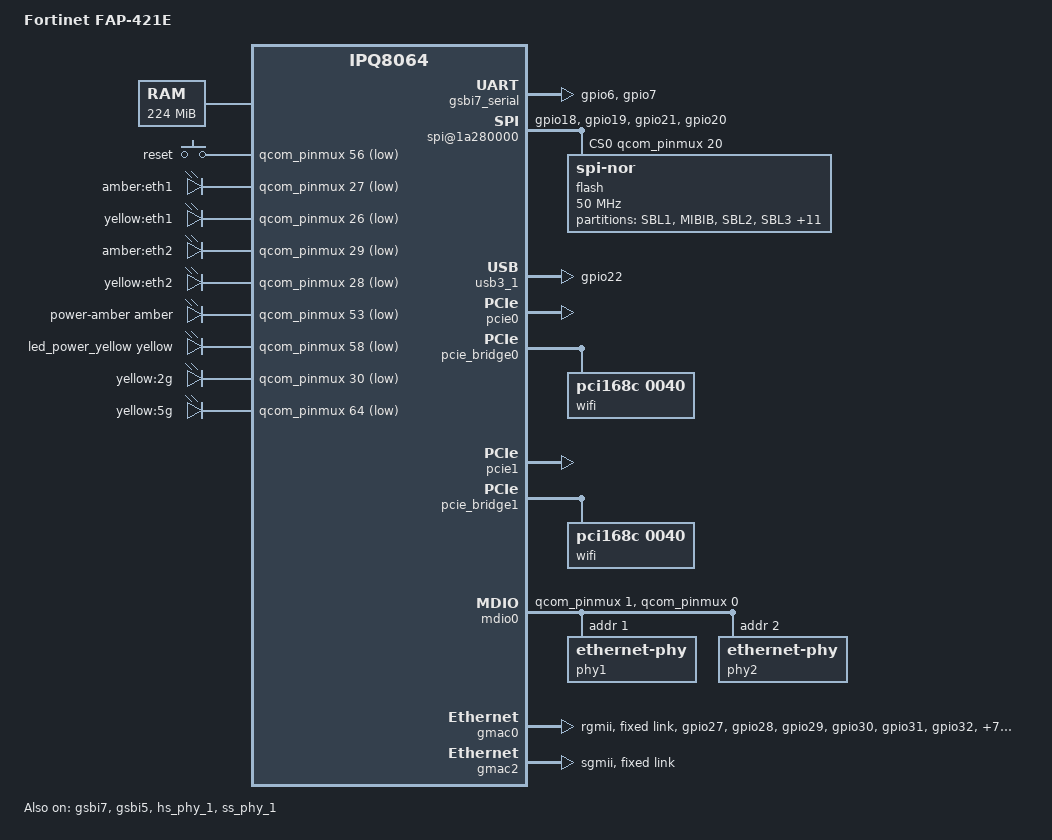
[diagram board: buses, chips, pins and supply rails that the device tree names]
// SPDX-License-Identifier: GPL-2.0-or-later OR MIT

#include "qcom-ipq8064-smb208.dtsi"
#include <dt-bindings/input/input.h>
#include <dt-bindings/leds/common.h>

/ {
	model = "Fortinet FAP-421E";
	compatible = "fortinet,fap-421e", "qcom,ipq8064";

	memory@42000000 {
		device_type = "memory";
		reg = <0x42000000 0xe000000>;
	};

	reserved-memory {
		rsvd@41200000 {
			no-map;
			reg = <0x41200000 0x300000>;
		};
		wifi_dump@44000000 {
			no-map;
			reg = <0x44000000 0x600000>;
		};
	};

	aliases {
		led-boot = &led_power_yellow;
		led-failsafe = &led_power_yellow;
		led-running = &led_power_yellow;
		led-upgrade = &led_power_yellow;
		label-mac-device = &gmac0;
	};

	chosen {
		bootargs-override = "console=ttyMSM0,9600n8";
	};

	keys {
		compatible = "gpio-keys";
		pinctrl-0 = <&button_pins>;
		pinctrl-names = "default";

		reset {
			label = "reset";
			gpios = <&qcom_pinmux 56 GPIO_ACTIVE_LOW>;
			linux,code = <KEY_RESTART>;
		};
	};

	leds {
		compatible = "gpio-leds";
		pinctrl-0 = <&led_pins>;
		pinctrl-names = "default";

		eth1-amber {
			label = "amber:eth1";
			gpios = <&qcom_pinmux 27 GPIO_ACTIVE_LOW>;
		};

		eth1-yellow {
			label = "yellow:eth1";
			gpios = <&qcom_pinmux 26 GPIO_ACTIVE_LOW>;
		};

		eth2-amber {
			label = "amber:eth2";
			gpios = <&qcom_pinmux 29 GPIO_ACTIVE_LOW>;
		};

		eth2-yellow {
			label = "yellow:eth2";
			gpios = <&qcom_pinmux 28 GPIO_ACTIVE_LOW>;
		};

		power-amber {
			function = LED_FUNCTION_POWER;
			color = <LED_COLOR_ID_AMBER>;
			gpios = <&qcom_pinmux 53 GPIO_ACTIVE_LOW>;
		};

		led_power_yellow: power-yellow {
			function = LED_FUNCTION_POWER;
			color = <LED_COLOR_ID_YELLOW>;
			gpios = <&qcom_pinmux 58 GPIO_ACTIVE_LOW>;
		};

		2g-yellow {
			label = "yellow:2g";
			gpios = <&qcom_pinmux 30 GPIO_ACTIVE_LOW>;
		};

		5g-yellow {
			label = "yellow:5g";
			gpios = <&qcom_pinmux 64 GPIO_ACTIVE_LOW>;
		};
	};
};

&qcom_pinmux {
	button_pins: button_pins {
		mux {
			bias-pull-up;
			drive-strength = <2>;
			pins = "gpio56";
		};
	};

	led_pins: led_pins {
		mux {
			bias-pull-down;
			drive-strength = <2>;
			function = "gpio";
			output-low;
			pins = "gpio23";
		};
	};

	rgmii2_pins: rgmii2-state {
		/delete-property/ pins;
		/delete-property/ function;
		/delete-property/ drive-strength;
		/delete-property/ bias-disable;

		mux-1 {
			pins = "gpio27", "gpio28", "gpio29",
				"gpio30", "gpio31", "gpio32",
				"gpio51", "gpio52", "gpio59",
				"gpio60", "gpio61", "gpio62";
			function = "rgmii2";
			drive-strength = <8>;
			bias-disable;
		};

		mux-2 {
			bias-disable;
			drive-strength = <16>;
			function = "rgmii2";
			pins = "gpio66";
		};
	};

	spi_pins: spi-state {
		/delete-property/ pins;
		/delete-property/ function;
		/delete-property/ drive-strength;
		/delete-property/ bias-disable;

		mux {
			pins = "gpio18", "gpio19", "gpio21";
			function = "gsbi5";
			bias-pull-down;
		};

		data {
			pins = "gpio18", "gpio19";
			drive-strength = <10>;
		};

		cs {
			pins = "gpio20";
			drive-strength = <10>;
			bias-pull-up;
		};

		clk {
			pins = "gpio21";
			drive-strength = <12>;
		};
	};

	uart0_pins: uart0_pins {
		mux {
			bias-disable;
			drive-strength = <12>;
			function = "gsbi7";
			pins = "gpio6", "gpio7";
		};
	};

	usb_pwr_en_pins: usb_pwr_en_pins {
		mux {
			pins = "gpio22";
			function = "gpio";
			drive-strength = <12>;
			bias-pull-down;
			output-low;
		};
	};
};

&gsbi7 {
	qcom,mode = <GSBI_PROT_I2C_UART>;

	status = "okay";
};

&gsbi7_serial{
	pinctrl-0 = <&uart0_pins>;
	pinctrl-names = "default";

	status = "okay";
};

&gsbi5 {
	qcom,mode = <GSBI_PROT_SPI>;

	status = "okay";

	spi@1a280000 {
		status = "okay";

		pinctrl-0 = <&spi_pins>;
		pinctrl-names = "default";
		cs-gpios = <&qcom_pinmux 20 GPIO_ACTIVE_HIGH>;

		flash@0 {
			compatible = "jedec,spi-nor";
			#address-cells = <1>;
			#size-cells = <1>;
			spi-max-frequency = <50000000>;
			reg = <0>;
			m25p,fast-read;

			partition@0 {
				label = "SBL1";
				reg = <0x0 0x20000>;
				read-only;
			};

			partition@20000 {
				label = "MIBIB";
				reg = <0x20000 0x20000>;
				read-only;
			};

			partition@40000 {
				label = "SBL2";
				reg = <0x40000 0x40000>;
				read-only;
			};

			partition@80000 {
				label = "SBL3";
				reg = <0x80000 0x80000>;
				read-only;
			};

			partition@100000 {
				label = "DDRCONFIG";
				reg = <0x100000 0x10000>;
				read-only;
			};

			partition@110000 {
				label = "SSD";
				reg = <0x110000 0x10000>;
				read-only;
			};

			partition@120000 {
				label = "TZ";
				reg = <0x120000 0x80000>;
				read-only;
			};

			partition@1a0000 {
				label = "RPM";
				reg = <0x1a0000 0x80000>;
				read-only;
			};

			partition@220000 {
				label = "APPSBL";
				reg = <0x220000 0x80000>;
				read-only;

				nvmem-layout {
					compatible = "fixed-layout";
					#address-cells = <1>;
					#size-cells = <1>;

					macaddr_appsbl_7ff80: mac-address@7ff80 {
						compatible = "mac-base";
						reg = <0x7ff80 0xc>;
						#nvmem-cell-cells = <1>;
					};
				};
			};

			partition@2a0000 {
				label = "APPSBLENV";
				reg = <0x2a0000 0x40000>;
			};

			partition@2e0000 {
				label = "ART";
				reg = <0x2e0000 0x40000>;
				read-only;
			};

			partition@320000 {
				label = "kernel";
				reg = <0x320000 0x600000>;
			};

			partition@920000 {
				label = "ubi";
				reg = <0x920000 0x1400000>;
			};

			partition@1d20000 {
				label = "reserved";
				reg = <0x1d20000 0x260000>;
				read-only;
			};

			partition@1f80000 {
				label = "config";
				reg = <0x1f80000 0x80000>;
				read-only;
			};
		};
	};
};

&hs_phy_1 {
	status = "okay";
};

&ss_phy_1 {
	status = "okay";
};

&usb3_1 {
	status = "okay";

	pinctrl-0 = <&usb_pwr_en_pins>;
	pinctrl-names = "default";
};

&pcie0 {
	status = "okay";
};

&pcie_bridge0 {
	wifi@0,0 {
		compatible = "pci168c,0040";
		reg = <0x00010000 0 0 0 0>;
		nvmem-cells = <&macaddr_appsbl_7ff80 8>;
		nvmem-cell-names = "mac-address";
	};
};

&pcie1 {
	status = "okay";

	max-link-speed = <1>;
};

&pcie_bridge1 {
	wifi@0,0 {
		compatible = "pci168c,0040";
		reg = <0x00010000 0 0 0 0>;
		nvmem-cells = <&macaddr_appsbl_7ff80 16>;
		nvmem-cell-names = "mac-address";
	};
};

&adm_dma {
	status = "okay";
};

&mdio0 {
	status = "okay";

	#address-cells = <0x1>;
	#size-cells = <0x0>;
	gpios = <&qcom_pinmux 1 GPIO_ACTIVE_HIGH>,
			<&qcom_pinmux 0 GPIO_ACTIVE_HIGH>;
	pinctrl-0 = <&mdio0_pins>;
	pinctrl-names = "default";

	phy1: ethernet-phy@1 {
		reg = <1>;
	};

	phy2: ethernet-phy@2 {
		reg = <2>;
	};
};

&gmac0 {
	status = "okay";

	phy-mode = "rgmii";
	qcom,id = <0>;
	pinctrl-0 = <&rgmii2_pins>;
	pinctrl-names = "default";
	nvmem-cells = <&macaddr_appsbl_7ff80 0>;
	nvmem-cell-names = "mac-address";

	fixed-link {
		speed = <1000>;
		full-duplex;
	};
};

&gmac2 {
	status = "okay";

	phy-mode = "sgmii";
	qcom,id = <2>;
	nvmem-cells = <&macaddr_appsbl_7ff80 1>;
	nvmem-cell-names = "mac-address";

	fixed-link {
		speed = <1000>;
		full-duplex;
	};
};
